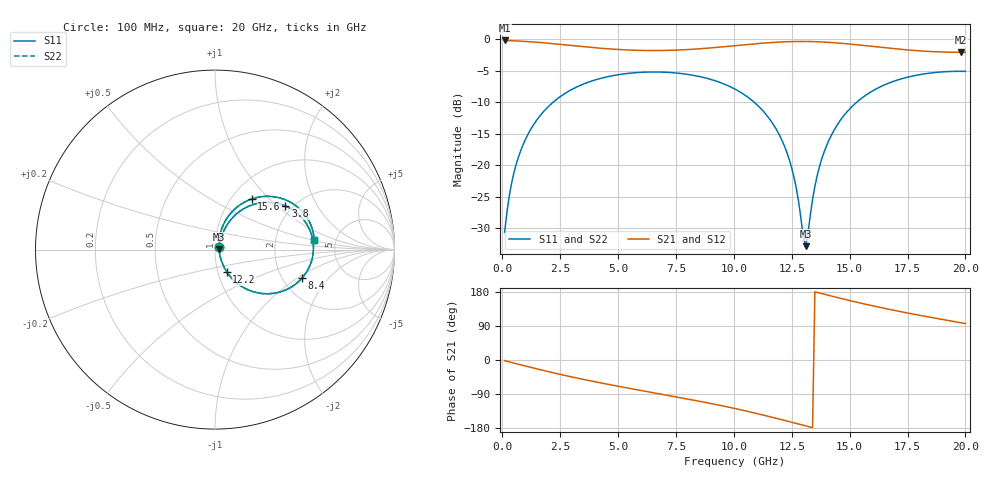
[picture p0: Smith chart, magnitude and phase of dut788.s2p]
! Touchstone file exported from HFSS 2026.1.0
!  File:  C:/ffzhzh/LocalFiles/Ansys_Project_Files/temp_train_TSV_RDL_788_1783260838_30076.aedt
!  Generated:  10:23:47 PM Jul  5, 2026
!  Design:  TSV_RDL
!  Project:  temp_train_TSV_RDL_788_1783260838_30076
! Variables:
!  h_bsmrdl = 5.37um
!  h_ox = 20um
!  h_rdl = 5um
!  h_sub = 58.91um
!  h_tmrdl = 2.54um
!  h_tsv = 58.91um
!  h_via = 3um
!  l_bsmrdl = 209.96um
!  l_sub = 4614.95um
!  l_tmrdl = 860.68um
!  m_sub = 200um
!  pitch = 53.72um
!  r_tsv = 12.66um
!  s_tmrdl = 10um
!  w_bsmrdl = 25.12um
!  w_sub = 500um
!  w_tmrdl = 22.33um
!  x_tsv_center1 = 871.845um
!  x_tsv_center2 = 1106.925um
!  x_tsv_center3 = 1989.935um
!  x_tsv_center4 = 2225.015um
!  x_tsv_center5 = 3108.025um
!  x_tsv_center6 = 3343.105um
# GHz S MA R 50.000000
! Terminal data exported
! Port[1] = TM_RDL1_1_T1
! Port[2] = TM_RDL5_1_T1
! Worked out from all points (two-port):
!   200 points, 100 MHz to 20 GHz, reference 50 ohm
!   highest |S21| = -0.21 dB at 100 MHz (marker M1); lowest = -2.1 dB at 19.8 GHz (marker M2)
!   |S21| within 3 dB of the highest: start of sweep to end of sweep
!   lowest |S11| = -32.9 dB at 13.1 GHz (marker M3), VSWR 1.05, Z = 52.3 + j0.342 ohm
!   |S11| at or under -10 dB: start of sweep to 2.198 GHz; 10.87 GHz to 15.31 GHz (4.435 GHz wide, 33.9 % of centre)
!   |S22| runs from -33.0 to -5.1 dB; largest |S21 - S12| = 1.7e-14
!   S11 on the Smith chart (normalised r, x): 100 MHz: 1.05, +0.03; 3.8 GHz: 1.83, +1.13; 8.4 GHz: 2.54, -1.09; 12.2 GHz: 1.10, -0.28; 15.6 GHz: 1.23, +0.79; 20 GHz: 3.42, +0.50
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0.1  0.02931 34.6  0.9762 -1.7  0.9762 -1.7  0.02932 34.6
! Gamma 0 0 0 0
! Port Impedance 50 0 50 0
0.3  0.05674 58.6  0.9734 -5.0  0.9734 -5.0  0.05674 58.6
0.5  0.08672 63.7  0.9697 -8.2  0.9697 -8.2  0.08672 63.7
1.1  0.1743 62.9  0.9561 -17.5  0.9561 -17.5  0.1743 62.9
2.1  0.3049 52.3  0.9236 -32.3  0.9236 -32.3  0.3049 52.2
3.5  0.4399 35.4  0.8708 -51.2  0.8708 -51.2  0.4399 35.4
3.8  0.4612 31.9  0.8605 -55.0  0.8605 -55.0  0.4612 31.8
5.3  0.5313 15.1  0.8223 -72.7  0.8223 -72.7  0.5313 15.1
6.8  0.5481 -0.8  0.8126 -89.3  0.8126 -89.3  0.5481 -0.8
8.4  0.51 -18.2  0.8353 -107.4  0.8353 -107.4  0.51 -18.2
10.1  0.3967 -38.2  0.8889 -128.8  0.8889 -128.8  0.3967 -38.2
11.3  0.2643 -53.1  0.9306 -145.8  0.9306 -145.8  0.2643 -53.2
12.2  0.1394 -62.1  0.9524 -159.5  0.9524 -159.5  0.1394 -62.2
12.6  0.07997 -61.1  0.9572 -165.8  0.9572 -165.8  0.0799 -61.3
13.1  0.02275 8.2  0.9582 -173.8  0.9582 -173.8  0.02242 8.2
13.4  0.0535 64.8  0.956 -178.5  0.956 -178.5  0.05333 65.2
13.7  0.09754 71.9  0.9517 176.7  0.9517 176.7  0.09744 72.1
14.2  0.1711 70.1  0.9405 168.9  0.9405 168.9  0.171 70.2
15.6  0.3487 54.0  0.8907 148.4  0.8907 148.4  0.3487 54.1
16.7  0.4484 40.7  0.8475 133.8  0.8475 133.8  0.4483 40.8
19.8  0.5558 7.3  0.7863 98.3  0.7863 98.3  0.5558 7.4
20  0.5551 5.3  0.7867 96.1  0.7867 96.1  0.5551 5.3
